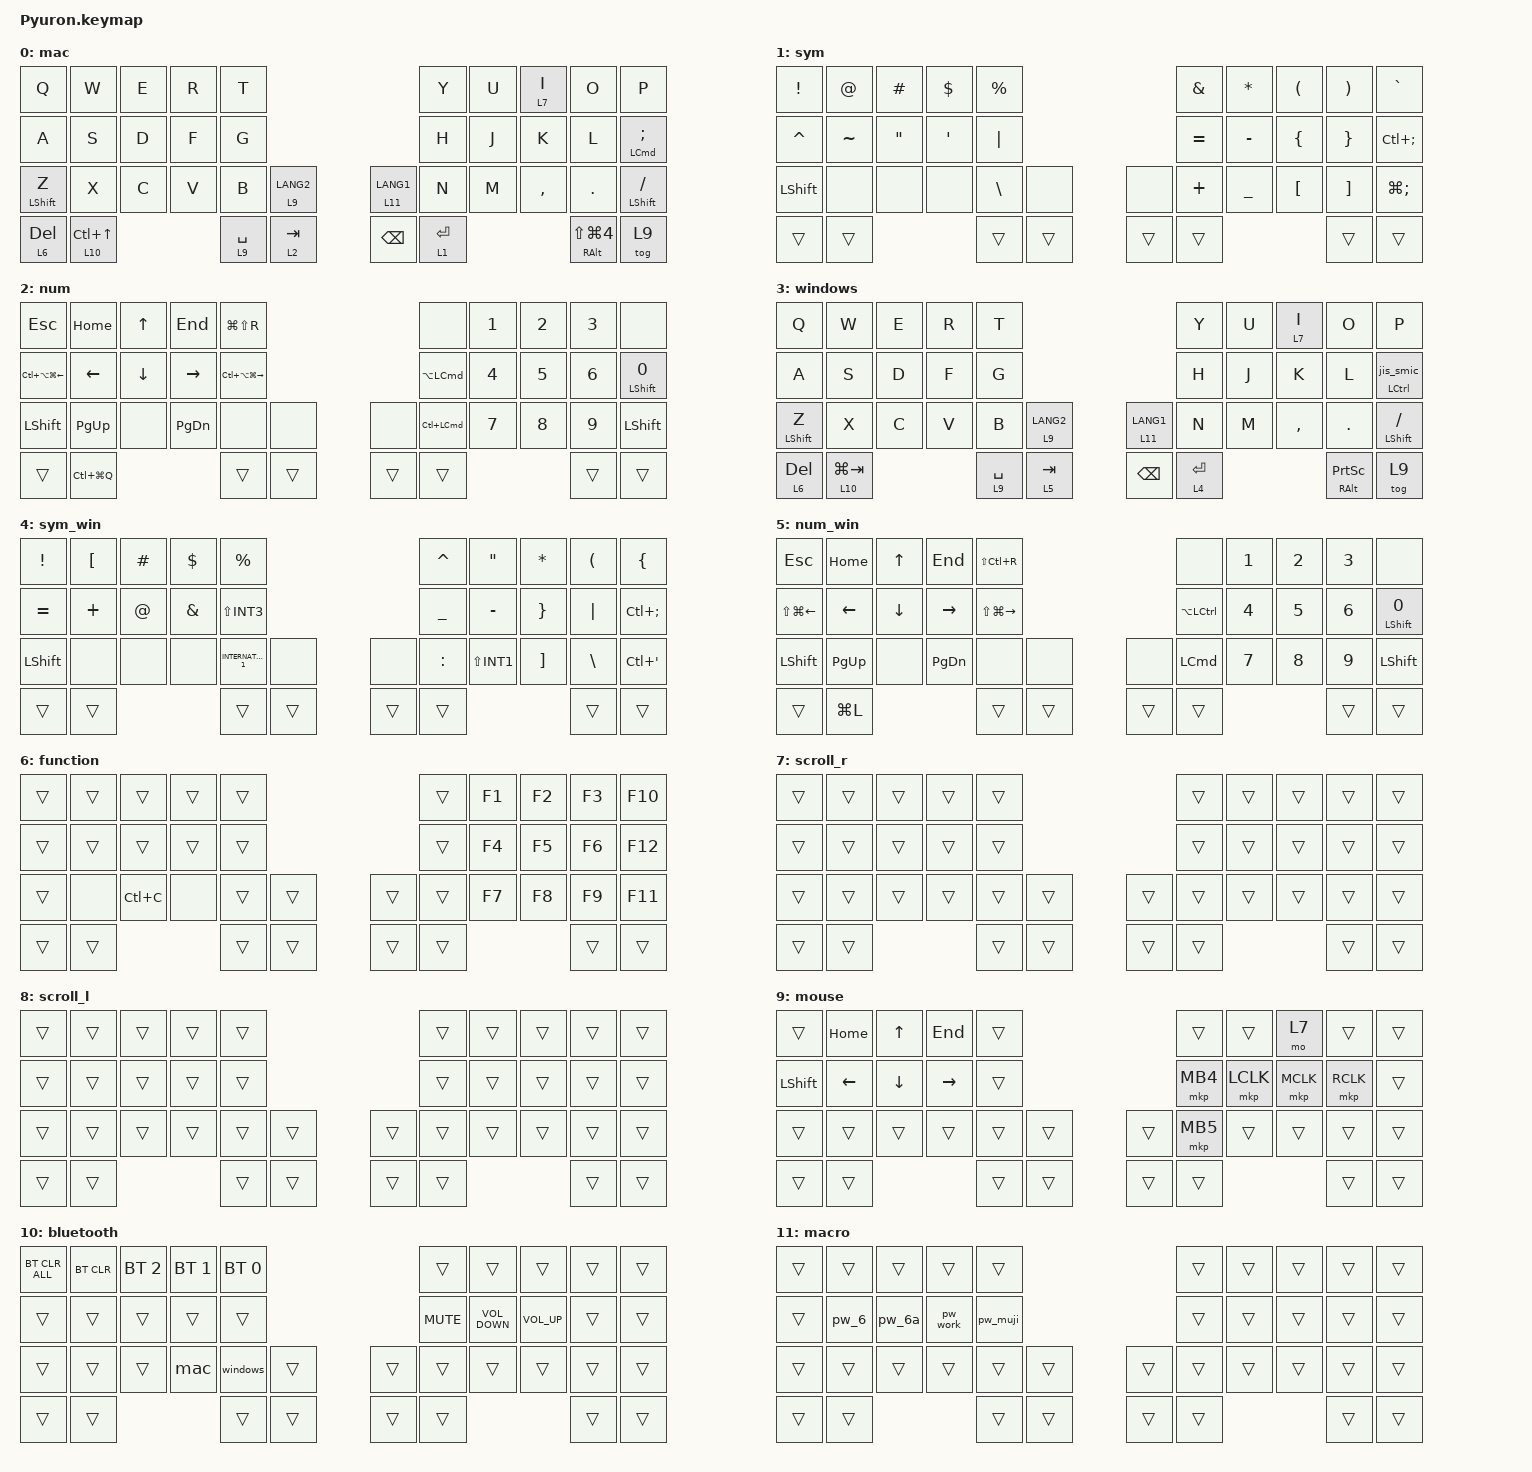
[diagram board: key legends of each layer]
#include <behaviors.dtsi>
#include <dt-bindings/zmk/bt.h>
#include <dt-bindings/zmk/keys.h>
#include <dt-bindings/zmk/pointing.h>

#define mouse 9

&mt {
    flavor = "balanced";
    quick-tap-ms = <0>;
};

/ {
    combos {
        compatible = "zmk,combos";

        hyphen {
            bindings = <&kp MINUS>;
            key-positions = <16 17>;
        };

        equal {
            bindings = <&kp EQUAL>;
            key-positions = <17 18>;
        };

        left_click {
            bindings = <&mkp MB1>;
            key-positions = <7 8>;
        };

        esc {
            bindings = <&kp ESCAPE>;
            key-positions = <1 10>;
        };
    };

    macros {
        to_layer_0: to_layer_0 {
            compatible = "zmk,behavior-macro-one-param";
            #binding-cells = <1>;
            bindings = <&to 0 &macro_param_1to1 &kp MACRO_PLACEHOLDER>;
            label = "TO_LAYER_0";
        };

        alt_and_to_layer: alt_and_to_layer {
            compatible = "zmk,behavior-macro-one-param";
            #binding-cells = <1>;
            bindings =
                <&macro_press>,
                <&macro_param_1to1 &mo MACRO_PLACEHOLDER &kp LALT>,
                <&macro_pause_for_release>,
                <&macro_release>,
                <&macro_param_1to1 &mo MACRO_PLACEHOLDER &kp LALT>;

            label = "ALT_AND_TO_LAYER";
        };

        mkp_exit_AML: mkp_exit_AML {
            compatible = "zmk,behavior-macro-one-param";
            #binding-cells = <1>;
            bindings =
                <&macro_press>,
                <&macro_param_1to1 &mkp MACRO_PLACEHOLDER>,
                <&macro_pause_for_release>,
                <&macro_release>,
                <&macro_param_1to1 &mkp MACRO_PLACEHOLDER>,
                <&macro_tap>,
                <&sl 9>;

            label = "MKP_EXIT_AML";
        };

        mac: mac {
            compatible = "zmk,behavior-macro";
            #binding-cells = <0>;
            bindings = <&bt BT_SEL 0>, <&macro_tap>, <&to 0>;

            label = "MAC";
        };

        windows: windows {
            compatible = "zmk,behavior-macro";
            #binding-cells = <0>;
            bindings = <&bt BT_SEL 1>, <&macro_tap>, <&to 3>;

            label = "WINDOWS";
        };

        pw_work: pw_work {
            compatible = "zmk,behavior-macro";
            #binding-cells = <0>;
            bindings = <&kp LS(W) &kp O &kp R &kp K &kp H &kp I &kp R &kp O &kp N6 &kp N2 &kp N9 &kp N5>;
            label = "PW_WORK";
        };

        pw_6a: pw_6a {
            compatible = "zmk,behavior-macro";
            #binding-cells = <0>;
            bindings = <&kp N6 &kp LS(F) &kp J &kp LS(J) &kp N4 &kp LS(H) &kp A &kp N1 &kp N3 &kp G &kp LS(A) &kp C>;
            label = "PW_6A";
        };

        pw_6: pw_6 {
            compatible = "zmk,behavior-macro";
            #binding-cells = <0>;
            bindings = <&kp N6 &kp LS(F) &kp J &kp LS(J) &kp N4 &kp LS(H) &kp AT &kp N1 &kp N3 &kp G &kp LS(A) &kp C>;
            label = "PW_6";
        };

        pw_muji: pw_muji {
            compatible = "zmk,behavior-macro";
            #binding-cells = <0>;
            bindings = <&kp V &kp T &kp E &kp A &kp W &kp N4 &kp Y &kp A>;
            label = "PW_MUJI";
        };
    };

    lt_to_layer_0: lt_to_layer_0 {
        compatible = "zmk,behavior-hold-tap";
        label = "LAYER_TAP_TO_0";
        bindings = <&mo>, <&to_layer_0>;

        #binding-cells = <2>;
        tapping-term-ms = <200>;
    };

    ht_alt_layer: ht_alt_layer {
        compatible = "zmk,behavior-hold-tap";
        label = "HT_ALT_LAYER";
        bindings = <&alt_and_to_layer>, <&kp>;

        #binding-cells = <2>;
        tapping-term-ms = <200>;
    };

    jis_smic: jis_smic {
        compatible = "zmk,behavior-mod-morph";
        label = "JIS_SMIC";
        bindings = <&kp SEMICOLON>, <&kp SINGLE_QUOTE>;

        #binding-cells = <0>;
        mods = <(MOD_LSFT|MOD_RSFT)>;
    };

    mt_jis_smic: mt_jis_smic {
        compatible = "zmk,behavior-hold-tap";
        label = "MT_JIS_SMIC";
        bindings = <&kp>, <&jis_smic>;

        #binding-cells = <2>;
        tapping-term-ms = <200>;
    };
};

/ {
    behaviors {
    };

    keymap {
        compatible = "zmk,keymap";

        mac {
            bindings = <
&kp Q             &kp W                 &kp E         &kp R                &kp T        &kp Y        &kp U          &lt 7 I      &kp O                           &kp P
&kp A             &kp S                 &kp D         &kp F                &kp G        &kp H        &kp J          &kp K        &kp L                           &mt LEFT_COMMAND SEMICOLON
&mt LEFT_SHIFT Z  &kp X                 &kp C         &kp V                &kp B        &lt 9 LANG2  &lt 11 LANG1   &kp N        &kp M                           &kp COMMA
&kp DOT           &mt LEFT_SHIFT SLASH  &lt 6 DELETE  &lt 10 LC(UP_ARROW)  &lt 9 SPACE  &lt 2 TAB    &kp BACKSPACE  &lt 1 ENTER  &mt RIGHT_ALT LS(LG(NUMBER_4))  &tog 9
            >;
        };

        sym {
            bindings = <
&kp EXCLAMATION    &kp AT_SIGN        &kp HASH           &kp DOLLAR  &kp PERCENT    &kp AMPERSAND  &kp ASTERISK  &kp LEFT_PARENTHESIS  &kp RIGHT_PARENTHESIS  &kp GRAVE
&kp CARET          &kp TILDE          &kp DOUBLE_QUOTES  &kp SQT     &kp PIPE       &kp EQUAL      &kp MINUS     &kp LEFT_BRACE        &kp RIGHT_BRACE        &kp LC(SEMICOLON)
&kp LEFT_SHIFT     &none              &none              &none       &kp BACKSLASH  &none          &none         &kp PLUS              &kp UNDERSCORE         &kp LEFT_BRACKET
&kp RIGHT_BRACKET  &kp LG(SEMICOLON)  &trans             &trans      &trans         &trans         &trans        &trans                &trans                 &trans
            >;
        };

        num {
            bindings = <
&kp ESCAPE                  &kp HOME        &kp UP_ARROW    &kp END          &kp LG(LS(R))                &none                 &kp NUMBER_1  &kp NUMBER_2          &kp NUMBER_3  &none
&kp LC(LA(LG(LEFT_ARROW)))  &kp LEFT_ARROW  &kp DOWN_ARROW  &kp RIGHT_ARROW  &kp LC(LA(LG(RIGHT_ARROW)))  &kp LA(LEFT_COMMAND)  &kp NUMBER_4  &kp NUMBER_5          &kp NUMBER_6  &mt LEFT_SHIFT NUMBER_0
&kp LEFT_SHIFT              &kp PAGE_UP     &none           &kp PAGE_DOWN    &none                        &none                 &none         &kp LC(LEFT_COMMAND)  &kp NUMBER_7  &kp NUMBER_8
&kp NUMBER_9                &kp LEFT_SHIFT  &trans          &kp LC(LG(Q))    &trans                       &trans                &trans        &trans                &trans        &trans
            >;
        };

        windows {
            bindings = <
&kp Q             &kp W                 &kp E         &kp R           &kp T        &kp Y        &kp U          &lt 7 I      &kp O                      &kp P
&kp A             &kp S                 &kp D         &kp F           &kp G        &kp H        &kp J          &kp K        &kp L                      &mt_jis_smic LEFT_CONTROL 0
&mt LEFT_SHIFT Z  &kp X                 &kp C         &kp V           &kp B        &lt 9 LANG2  &lt 11 LANG1   &kp N        &kp M                      &kp COMMA
&kp DOT           &mt LEFT_SHIFT SLASH  &lt 6 DELETE  &lt 10 LG(TAB)  &lt 9 SPACE  &lt 5 TAB    &kp BACKSPACE  &lt 4 ENTER  &mt RIGHT_ALT PRINTSCREEN  &tog 9
            >;
        };

        sym_win {
            bindings = <
&kp EXCLAMATION  &kp LEFT_BRACKET  &kp HASH     &kp DOLLAR     &kp PERCENT          &kp CARET       &kp DOUBLE_QUOTES  &kp ASTERISK     &kp LEFT_PARENTHESIS  &kp LEFT_BRACE
&kp EQUAL        &kp PLUS          &kp AT_SIGN  &kp AMPERSAND  &kp LS(INT3)         &kp UNDERSCORE  &kp MINUS          &kp RIGHT_BRACE  &kp PIPE              &kp LC(SEMICOLON)
&kp LEFT_SHIFT   &none             &none        &none          &kp INTERNATIONAL_1  &none           &none              &kp COLON        &kp LS(INT1)          &kp RIGHT_BRACKET
&kp BACKSLASH    &kp LC(SQT)       &trans       &trans         &trans               &trans          &trans             &trans           &trans                &trans
            >;
        };

        num_win {
            bindings = <
&kp ESCAPE              &kp HOME        &kp UP_ARROW    &kp END          &kp LS(LC(R))            &none                 &kp NUMBER_1  &kp NUMBER_2      &kp NUMBER_3  &none
&kp LS(LG(LEFT_ARROW))  &kp LEFT_ARROW  &kp DOWN_ARROW  &kp RIGHT_ARROW  &kp LS(LG(RIGHT_ARROW))  &kp LA(LEFT_CONTROL)  &kp NUMBER_4  &kp NUMBER_5      &kp NUMBER_6  &mt LEFT_SHIFT NUMBER_0
&kp LEFT_SHIFT          &kp PAGE_UP     &none           &kp PAGE_DOWN    &none                    &none                 &none         &kp LEFT_COMMAND  &kp NUMBER_7  &kp NUMBER_8
&kp NUMBER_9            &kp LEFT_SHIFT  &trans          &kp LG(L)        &trans                   &trans                &trans        &trans            &trans        &trans
            >;
        };

        function {
            bindings = <
&trans  &trans   &trans     &trans  &trans  &trans  &kp F1  &kp F2  &kp F3  &kp F10
&trans  &trans   &trans     &trans  &trans  &trans  &kp F4  &kp F5  &kp F6  &kp F12
&trans  &none    &kp LC(C)  &none   &trans  &trans  &trans  &trans  &kp F7  &kp F8
&kp F9  &kp F11  &trans     &trans  &trans  &trans  &trans  &trans  &trans  &trans
            >;
        };

        scroll_r {
            bindings = <
&trans  &trans  &trans  &trans  &trans  &trans  &trans  &trans  &trans  &trans
&trans  &trans  &trans  &trans  &trans  &trans  &trans  &trans  &trans  &trans
&trans  &trans  &trans  &trans  &trans  &trans  &trans  &trans  &trans  &trans
&trans  &trans  &trans  &trans  &trans  &trans  &trans  &trans  &trans  &trans
            >;
        };

        scroll_l {
            bindings = <
&trans  &trans  &trans  &trans  &trans  &trans  &trans  &trans  &trans  &trans
&trans  &trans  &trans  &trans  &trans  &trans  &trans  &trans  &trans  &trans
&trans  &trans  &trans  &trans  &trans  &trans  &trans  &trans  &trans  &trans
&trans  &trans  &trans  &trans  &trans  &trans  &trans  &trans  &trans  &trans
            >;
        };

        mouse {
            bindings = <
&trans          &kp HOME        &kp UP_ARROW    &kp END          &trans  &trans    &trans     &mo 7      &trans     &trans
&kp LEFT_SHIFT  &kp LEFT_ARROW  &kp DOWN_ARROW  &kp RIGHT_ARROW  &trans  &mkp MB4  &mkp LCLK  &mkp MCLK  &mkp RCLK  &trans
&trans          &trans          &trans          &trans           &trans  &trans    &trans     &mkp MB5   &trans     &trans
&trans          &trans          &trans          &trans           &trans  &trans    &trans     &trans     &trans     &trans
            >;
        };

        bluetooth {
            bindings = <
&bt BT_CLR_ALL  &bt BT_CLR  &bt BT_SEL 2  &bt BT_SEL 1  &bt BT_SEL 0  &trans      &trans             &trans           &trans  &trans
&trans          &trans      &trans        &trans        &trans        &kp C_MUTE  &kp C_VOLUME_DOWN  &kp C_VOLUME_UP  &trans  &trans
&trans          &trans      &trans        &mac          &windows      &trans      &trans             &trans           &trans  &trans
&trans          &trans      &trans        &trans        &trans        &trans      &trans             &trans           &trans  &trans
            >;
        };

        macro {
            bindings = <
&trans  &trans  &trans  &trans    &trans    &trans  &trans  &trans  &trans  &trans
&trans  &pw_6   &pw_6a  &pw_work  &pw_muji  &trans  &trans  &trans  &trans  &trans
&trans  &trans  &trans  &trans    &trans    &trans  &trans  &trans  &trans  &trans
&trans  &trans  &trans  &trans    &trans    &trans  &trans  &trans  &trans  &trans
            >;
        };
    };
};
